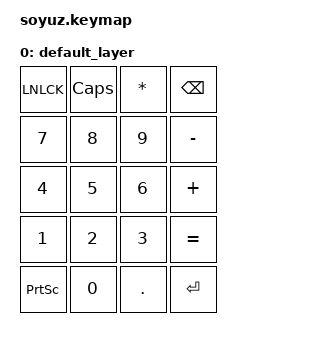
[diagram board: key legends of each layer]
/*
 * Copyright (c) 2020 The ZMK Contributors
 *
 * SPDX-License-Identifier: MIT
 */
#include <behaviors.dtsi>
#include <dt-bindings/zmk/keys.h>

/ {
    keymap {
        compatible = "zmk,keymap";

        default_layer {
//  -------------------------------------
//  | NUMLOCK     | CAPSLOCK | * | BSPC |
//  | 7           | 8        | 9 | -    |
//  | 4           | 5        | 6 | +    |
//  | 1           | 2        | 3 | =    |
//  | PRINTSCREEN | 0        | . | =    |
            bindings = <
&kp LNLCK       &kp CAPS &kp STAR &kp BSPC
&kp N7          &kp N8   &kp N9   &kp MINUS
&kp N4          &kp N5   &kp N6   &kp PLUS
&kp N1          &kp N2   &kp N3   &kp EQUAL
&kp PRINTSCREEN &kp N0   &kp DOT  &kp RET
            >;

        };
    };
};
